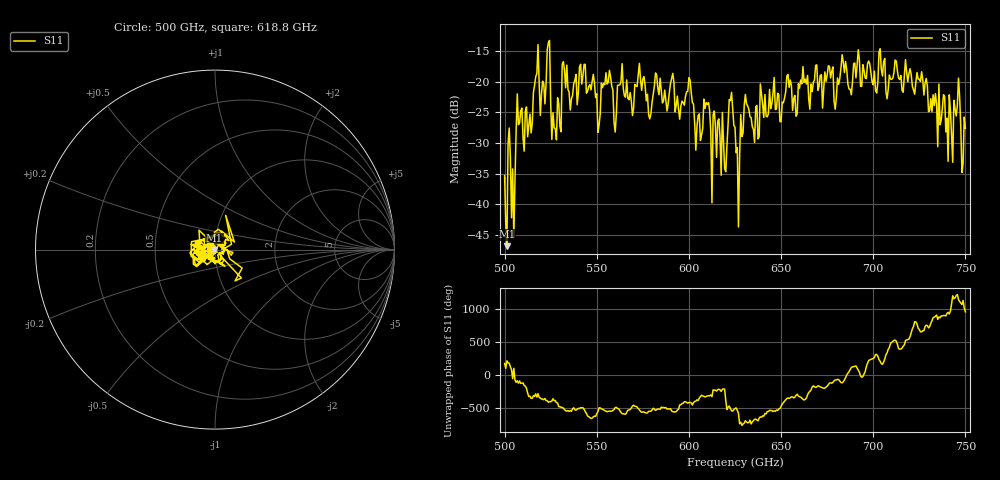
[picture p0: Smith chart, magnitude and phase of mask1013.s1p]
!Created with skrf (http://scikit-rf.org).
# GHz S MA R 50.0
!freq magS11 angS11
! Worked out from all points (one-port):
!   401 points, 500 GHz to 750 GHz, reference 50 ohm
!   lowest |S11| = -46.8 dB at 501.2 GHz (marker M1), VSWR 1.01, Z = 49.6 - j0.256 ohm
!   |S11| at or under -10 dB: start of sweep to end of sweep
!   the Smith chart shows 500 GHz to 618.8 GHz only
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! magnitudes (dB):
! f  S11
! 500 GHz  -35.3
! 501.2 GHz  -46.8
! 503.1 GHz  -32.3
! 504.4 GHz  -34.2
! 507.5 GHz  -27.0
! 513.8 GHz  -25.3
! 516.9 GHz  -19.2
! 520.6 GHz  -19.9
! 523.8 GHz  -13.7
! 526.9 GHz  -27.5
! 531.2 GHz  -17.2
! 542.5 GHz  -19.1
! 550.6 GHz  -28.3
! 562.5 GHz  -20.5
! 593.8 GHz  -22.4
! 600 GHz  -19.4
! 605 GHz  -25.6
! 609.4 GHz  -23.4
! 618.8 GHz  -29.7
! 622.5 GHz  -23.1
! 625 GHz  -27.4
! 626.2 GHz  -30.8
! 631.2 GHz  -23.6
! 656.2 GHz  -24.7
! 683.8 GHz  -16.9
! 687.5 GHz  -21.2
! 718.8 GHz  -20.0
! 750 GHz  -27.6
